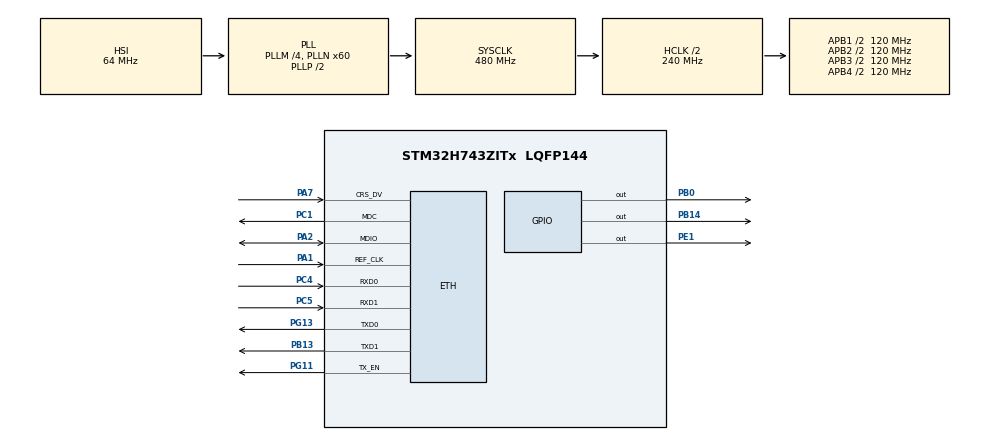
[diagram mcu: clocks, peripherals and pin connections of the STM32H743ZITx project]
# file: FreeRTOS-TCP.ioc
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CORTEX_M7.CPU_ICache=Enabled
ETH.MediaInterface=HAL_ETH_RMII_MODE
FREERTOS.Tasks01=defaultTask,24,256,StartDefaultTask,Default,NULL,Dynamic,NULL,NULL
FREERTOS.configUSE_NEWLIB_REENTRANT=1
Mcu.Family=STM32H7
Mcu.Name=STM32H743ZITx
Mcu.Package=LQFP144
NVIC.ETH_IRQn=true\:5\:0\:false\:false\:true\:true\:true\:true
NVIC.HASH_RNG_IRQn=true\:5\:0\:false\:false\:true\:true\:true\:true
NVIC.PriorityGroup=NVIC_PRIORITYGROUP_4
NVIC.RCC_IRQn=true\:5\:0\:false\:false\:true\:true\:true\:false
NVIC.TIM1_UP_IRQn=true\:15\:0\:false\:false\:true\:false\:false\:true
NVIC.TimeBase=TIM1_UP_IRQn
NVIC.TimeBaseIP=TIM1
PA1.Mode=RMII
PA1.Signal=ETH_REF_CLK
PA2.Mode=RMII
PA2.Signal=ETH_MDIO
PA7.Mode=RMII
PA7.Signal=ETH_CRS_DV
PB0.Signal=GPIO_Output
PB13.Mode=RMII
PB13.Signal=ETH_TXD1
PB14.Signal=GPIO_Output
PC1.Mode=RMII
PC1.Signal=ETH_MDC
PC4.Mode=RMII
PC4.Signal=ETH_RXD0
PC5.Mode=RMII
PC5.Signal=ETH_RXD1
PE1.Signal=GPIO_Output
PG11.Mode=RMII
PG11.Signal=ETH_TX_EN
PG13.Mode=RMII
PG13.Signal=ETH_TXD0
ProjectManager.HeapSize=0x200
ProjectManager.StackSize=0x400
ProjectManager.TargetToolchain=STM32CubeIDE
RCC.ADCFreq_Value=129000000
RCC.APB1Freq_Value=120000000
RCC.APB2Freq_Value=120000000
RCC.APB3Freq_Value=120000000
RCC.APB4Freq_Value=120000000
RCC.CortexFreq_Value=480000000
RCC.D1PPRE=RCC_APB3_DIV2
RCC.D2PPRE1=RCC_APB1_DIV2
RCC.D2PPRE2=RCC_APB2_DIV2
RCC.D3PPRE=RCC_APB4_DIV2
RCC.DIVM1=4
RCC.DIVN1=60
RCC.HCLKFreq_Value=240000000
RCC.HPRE=RCC_HCLK_DIV2
RCC.SYSCLKFreq_VALUE=480000000
RCC.SYSCLKSource=RCC_SYSCLKSOURCE_PLLCLK
RCC.USBFreq_Value=480000000
VP_FREERTOS_VS_CMSIS_V2.Mode=CMSIS_V2
VP_RNG_VS_RNG.Mode=RNG_Activate
VP_SYS_VS_tim1.Mode=TIM1
board=NUCLEO-H743ZI2

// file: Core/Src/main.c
/* USER CODE BEGIN Header */
/**
  ******************************************************************************
  * @file           : main.c
  * @brief          : Main program body
  ******************************************************************************
  * @attention
  *
  * <h2><center>&copy; Copyright (c) 2021 STMicroelectronics.
  * All rights reserved.</center></h2>
  *
  * This software component is licensed by ST under Ultimate Liberty license
  * SLA0044, the "License"; You may not use this file except in compliance with
  * the License. You may obtain a copy of the License at:
  *                             www.st.com/SLA0044
  *
  ******************************************************************************
  */
/* USER CODE END Header */
#include "main.h"
#include "string.h"
#include "cmsis_os.h"

/* USER CODE BEGIN Includes */
#include "FreeRTOS_IP.h"
#include "FreeRTOS_Sockets.h"
#include <stdlib.h>
#include <stdio.h>
/* USER CODE END Includes */

/* USER CODE BEGIN PD */
static uint8_t ucMACAddress[ 6 ] = { 0x00, 0x11, 0x22, 0x33, 0x44, 0x55 };
static const uint8_t ucIPAddress[ 4 ] = { 192, 168, 4, 7 };
static const uint8_t ucNetMask[ 4 ] = { 255, 255, 0 , 0 };
static const uint8_t ucGatewayAddress[ 4 ] = { 192, 168, 1, 1 };
static const uint8_t ucDNSServerAddress[ 4 ] = { 192, 168, 1, 2 };
/* USER CODE END PD */

#if defined ( __ICCARM__ ) /*!< IAR Compiler */

#pragma location=0x30040000
ETH_DMADescTypeDef  DMARxDscrTab[ETH_RX_DESC_CNT]; /* Ethernet Rx DMA Descriptors */
#pragma location=0x30040060
ETH_DMADescTypeDef  DMATxDscrTab[ETH_TX_DESC_CNT]; /* Ethernet Tx DMA Descriptors */
#pragma location=0x30040200
uint8_t Rx_Buff[ETH_RX_DESC_CNT][ETH_MAX_PACKET_SIZE]; /* Ethernet Receive Buffers */

#elif defined ( __CC_ARM )  /* MDK ARM Compiler */

__attribute__((at(0x30040000))) ETH_DMADescTypeDef  DMARxDscrTab[ETH_RX_DESC_CNT]; /* Ethernet Rx DMA Descriptors */
__attribute__((at(0x30040060))) ETH_DMADescTypeDef  DMATxDscrTab[ETH_TX_DESC_CNT]; /* Ethernet Tx DMA Descriptors */
__attribute__((at(0x30040200))) uint8_t Rx_Buff[ETH_RX_DESC_CNT][ETH_MAX_PACKET_SIZE]; /* Ethernet Receive Buffer */

#elif defined ( __GNUC__ ) /* GNU Compiler */

//ETH_DMADescTypeDef DMARxDscrTab[ETH_RX_DESC_CNT] __attribute__((section(".RxDecripSection"))); /* Ethernet Rx DMA Descriptors */
//ETH_DMADescTypeDef DMATxDscrTab[ETH_TX_DESC_CNT] __attribute__((section(".TxDecripSection")));   /* Ethernet Tx DMA Descriptors */
//uint8_t Rx_Buff[ETH_RX_DESC_CNT][ETH_MAX_PACKET_SIZE] __attribute__((section(".RxArraySection"))); /* Ethernet Receive Buffers */

#endif

ETH_TxPacketConfig TxConfig;

ETH_HandleTypeDef heth;

RNG_HandleTypeDef hrng;

/* Definitions for defaultTask */
osThreadId_t defaultTaskHandle;
const osThreadAttr_t defaultTask_attributes = {
  .name = "defaultTask",
  .stack_size = 256 * 4,
  .priority = (osPriority_t) osPriorityNormal,
};

void SystemClock_Config(void);
static void MX_GPIO_Init(void);
//static void MX_ETH_Init(void);
static void MX_RNG_Init(void);
void StartDefaultTask(void *argument);
static void MPU_Config(void);

int main(void)
{
  /* USER CODE BEGIN 1 */
     MPU_Config();
  /* USER CODE END 1 */

  /* Enable I-Cache---------------------------------------------------------*/
  SCB_EnableICache();
//  SCB_EnableDCache();
  /* MCU Configuration--------------------------------------------------------*/

  /* Reset of all peripherals, Initializes the Flash interface and the Systick. */
  HAL_Init();

  /* Configure the system clock */
  SystemClock_Config();

  /* Initialize all configured peripherals */
  MX_GPIO_Init();
//  MX_ETH_Init();
  MX_RNG_Init();

  /* Init scheduler */
  osKernelInitialize();

  /* Create the thread(s) */
  /* creation of defaultTask */
  defaultTaskHandle = osThreadNew(StartDefaultTask, NULL, &defaultTask_attributes);

  /* Start scheduler */
  osKernelStart();

  /* We should never get here as control is now taken by the scheduler */
  /* Infinite loop */
  while (1)
  {

  }
}

void SystemClock_Config(void)
{
  RCC_OscInitTypeDef RCC_OscInitStruct = {0};
  RCC_ClkInitTypeDef RCC_ClkInitStruct = {0};

  /** Supply configuration update enable
  */
  HAL_PWREx_ConfigSupply(PWR_LDO_SUPPLY);
  /** Configure the main internal regulator output voltage
  */
  __HAL_PWR_VOLTAGESCALING_CONFIG(PWR_REGULATOR_VOLTAGE_SCALE0);

  while(!__HAL_PWR_GET_FLAG(PWR_FLAG_VOSRDY)) {}
  /** Initializes the RCC Oscillators according to the specified parameters
  * in the RCC_OscInitTypeDef structure.
  */
  RCC_OscInitStruct.OscillatorType = RCC_OSCILLATORTYPE_HSI48|RCC_OSCILLATORTYPE_HSI;
  RCC_OscInitStruct.HSIState = RCC_HSI_DIV1;
  RCC_OscInitStruct.HSICalibrationValue = RCC_HSICALIBRATION_DEFAULT;
  RCC_OscInitStruct.HSI48State = RCC_HSI48_ON;
  RCC_OscInitStruct.PLL.PLLState = RCC_PLL_ON;
  RCC_OscInitStruct.PLL.PLLSource = RCC_PLLSOURCE_HSI;
  RCC_OscInitStruct.PLL.PLLM = 4;
  RCC_OscInitStruct.PLL.PLLN = 60;
  RCC_OscInitStruct.PLL.PLLP = 2;
  RCC_OscInitStruct.PLL.PLLQ = 2;
  RCC_OscInitStruct.PLL.PLLR = 2;
  RCC_OscInitStruct.PLL.PLLRGE = RCC_PLL1VCIRANGE_3;
  RCC_OscInitStruct.PLL.PLLVCOSEL = RCC_PLL1VCOWIDE;
  RCC_OscInitStruct.PLL.PLLFRACN = 0;
  if (HAL_RCC_OscConfig(&RCC_OscInitStruct) != HAL_OK)
  {
    Error_Handler();
  }
  /** Initializes the CPU, AHB and APB buses clocks
  */
  RCC_ClkInitStruct.ClockType = RCC_CLOCKTYPE_HCLK|RCC_CLOCKTYPE_SYSCLK
                              |RCC_CLOCKTYPE_PCLK1|RCC_CLOCKTYPE_PCLK2
                              |RCC_CLOCKTYPE_D3PCLK1|RCC_CLOCKTYPE_D1PCLK1;
  RCC_ClkInitStruct.SYSCLKSource = RCC_SYSCLKSOURCE_PLLCLK;
  RCC_ClkInitStruct.SYSCLKDivider = RCC_SYSCLK_DIV1;
  RCC_ClkInitStruct.AHBCLKDivider = RCC_HCLK_DIV2;
  RCC_ClkInitStruct.APB3CLKDivider = RCC_APB3_DIV2;
  RCC_ClkInitStruct.APB1CLKDivider = RCC_APB1_DIV2;
  RCC_ClkInitStruct.APB2CLKDivider = RCC_APB2_DIV2;
  RCC_ClkInitStruct.APB4CLKDivider = RCC_APB4_DIV2;

  if (HAL_RCC_ClockConfig(&RCC_ClkInitStruct, FLASH_LATENCY_4) != HAL_OK)
  {
    Error_Handler();
  }
}

//static void MX_ETH_Init(void)
//{
//
//  /* USER CODE BEGIN ETH_Init 0 */
//
//  /* USER CODE END ETH_Init 0 */
//
//   static uint8_t MACAddr[6];
//
//  /* USER CODE BEGIN ETH_Init 1 */
//
//  /* USER CODE END ETH_Init 1 */
//  heth.Instance = ETH;
//  MACAddr[0] = 0x00;
//  MACAddr[1] = 0x80;
//  MACAddr[2] = 0xE1;
//  MACAddr[3] = 0x00;
//  MACAddr[4] = 0x00;
//  MACAddr[5] = 0x00;
//  heth.Init.MACAddr = &MACAddr[0];
//  heth.Init.MediaInterface = HAL_ETH_RMII_MODE;
//  heth.Init.TxDesc = DMATxDscrTab;
//  heth.Init.RxDesc = DMARxDscrTab;
//  heth.Init.RxBuffLen = 1524;
//
//  /* USER CODE BEGIN MACADDRESS */
//
//  /* USER CODE END MACADDRESS */
//
//  if (HAL_ETH_Init(&heth) != HAL_OK)
//  {
//    Error_Handler();
//  }
//
//  memset(&TxConfig, 0 , sizeof(ETH_TxPacketConfig));
//  TxConfig.Attributes = ETH_TX_PACKETS_FEATURES_CSUM | ETH_TX_PACKETS_FEATURES_CRCPAD;
//  TxConfig.ChecksumCtrl = ETH_CHECKSUM_IPHDR_PAYLOAD_INSERT_PHDR_CALC;
//  TxConfig.CRCPadCtrl = ETH_CRC_PAD_INSERT;
//  /* USER CODE BEGIN ETH_Init 2 */
//
//  /* USER CODE END ETH_Init 2 */
//
//}

static void MX_RNG_Init(void)
{

  hrng.Instance = RNG;
  hrng.Init.ClockErrorDetection = RNG_CED_ENABLE;
  if (HAL_RNG_Init(&hrng) != HAL_OK)
  {
    Error_Handler();
  }

}

static void MX_GPIO_Init(void)
{
  GPIO_InitTypeDef GPIO_InitStruct = {0};

  /* GPIO Ports Clock Enable */
  __HAL_RCC_GPIOC_CLK_ENABLE();
  __HAL_RCC_GPIOA_CLK_ENABLE();
  __HAL_RCC_GPIOB_CLK_ENABLE();
  __HAL_RCC_GPIOG_CLK_ENABLE();
  __HAL_RCC_GPIOE_CLK_ENABLE();

  /*Configure GPIO pin Output Level */
  HAL_GPIO_WritePin(GPIOB, GPIO_PIN_0|GPIO_PIN_14, GPIO_PIN_RESET);

  /*Configure GPIO pin Output Level */
  HAL_GPIO_WritePin(GPIOE, GPIO_PIN_1, GPIO_PIN_RESET);

  /*Configure GPIO pins : PB0 PB14 */
  GPIO_InitStruct.Pin = GPIO_PIN_0|GPIO_PIN_14;
  GPIO_InitStruct.Mode = GPIO_MODE_OUTPUT_PP;
  GPIO_InitStruct.Pull = GPIO_NOPULL;
  GPIO_InitStruct.Speed = GPIO_SPEED_FREQ_LOW;
  HAL_GPIO_Init(GPIOB, &GPIO_InitStruct);

  /*Configure GPIO pin : PE1 */
  GPIO_InitStruct.Pin = GPIO_PIN_1;
  GPIO_InitStruct.Mode = GPIO_MODE_OUTPUT_PP;
  GPIO_InitStruct.Pull = GPIO_NOPULL;
  GPIO_InitStruct.Speed = GPIO_SPEED_FREQ_LOW;
  HAL_GPIO_Init(GPIOE, &GPIO_InitStruct);

}

/* USER CODE BEGIN 4 */
const char *pcApplicationHostnameHook(void)
{
	return "MY_HOST_NAME";
}

uint32_t ulApplicationGetNextSequenceNumber(uint32_t ulSourceAddress, uint16_t usSourcePort, uint32_t ulDestinationAddress, uint16_t usDestinationPort)
{
	//todo this is not correct is just to get the thing to compile
//	static uint32_t counter = 0;
//	return counter++;
	 return (uint32_t)rand();
}

void vApplicationIPNetworkEventHook( eIPCallbackEvent_t eNetworkEvent )
{
	static BaseType_t xTasksAlreadyCreated = pdFALSE;

	/* Both eNetworkUp and eNetworkDown events can be processed here. */
	if( eNetworkEvent == eNetworkUp )
	{
		/* Create the tasks that use the TCP/IP stack if they have not already
        been created. */
		if( xTasksAlreadyCreated == pdFALSE )
		{
			/*
			 * For convenience, tasks that use FreeRTOS+TCP can be created here
			 * to ensure they are not created before the network is usable.
			 */

			xTasksAlreadyCreated = pdTRUE;
		}
	}
}

BaseType_t xApplicationGetRandomNumber(uint32_t *pulNumber)
{
	*pulNumber = rand();
	return pdTRUE;
}

/* USER CODE END 4 */

void StartDefaultTask(void *argument)
{

	//sending TCP packet /////////////////////////////////////////////////////////////////////////////////////////////////////////////////////////////////////////////////////
	//
	//	Socket_t xClientSocket;
	//	struct freertos_sockaddr xRemoteAddress;
	//	char *BufferToTransmit = "HELLO";
	//	const size_t xTotalLength = strlen(BufferToTransmit);
	//	BaseType_t xAlreadyTransmitted = 0, xBytesSent = 0;
	//	size_t xLenToSend;
	//
	//	FreeRTOS_IPInit(ucIPAddress, ucNetMask, ucGatewayAddress, ucDNSServerAddress, ucMACAddress);
	//
	//	xRemoteAddress.sin_port = FreeRTOS_htons(10000);
	//	xRemoteAddress.sin_addr = FreeRTOS_inet_addr("192.168.4.207");
	//
	//	xClientSocket = FreeRTOS_socket(FREERTOS_AF_INET, FREERTOS_SOCK_STREAM, FREERTOS_IPPROTO_TCP);
	//
	//	configASSERT(xClientSocket != FREERTOS_INVALID_SOCKET);
	//
	//	/* Infinite loop */
	//	if (FreeRTOS_connect(xClientSocket, &xRemoteAddress, sizeof(xRemoteAddress)) == 0)
	//	{
	//		HAL_GPIO_WritePin(GPIOB, GPIO_PIN_0, GPIO_PIN_SET);
	//
	//		while (1)
	//		{
	//			xAlreadyTransmitted = 0;
	//			xBytesSent = 0;
	//
	//			while (xAlreadyTransmitted < xTotalLength)
	//			{
	//				xLenToSend = xTotalLength - xAlreadyTransmitted;
	//				xBytesSent = FreeRTOS_send(xClientSocket, &BufferToTransmit[xAlreadyTransmitted], xLenToSend, 0);
	//
	//				if (xBytesSent >= 0)
	//				{
	//					xAlreadyTransmitted += xBytesSent;
	//				}
	//
	//				else
	//				{
	//					break;
	//				}
	//			}
	//
	//			osDelay(1000);
	//		}
	//	}
	//	else
	//	{
	//		HAL_GPIO_WritePin(GPIOB, GPIO_PIN_14, GPIO_PIN_SET);
	//	}
	//
	////FreeRTOS_shutdown(xClientSocket, FREERTOS_SHUT_RDWR);
	////FreeRTOS_closesocket(xClientSocket);

	// TCP echo server/////////////////////////////////////////////////////////////////////////////////////////////////////////////////////////

		struct freertos_sockaddr xClient, xBindAddress;
		Socket_t xListeningSocket, xConnectedSocket;
		socklen_t xSize = sizeof(xClient);
		static const TickType_t xReceiveTimeOut = portMAX_DELAY;
		const BaseType_t xBacklog = 20;
		uint8_t Buffer[128];
		BaseType_t xAlreadyTransmitted = 0, xBytesSent = 0;
		size_t xLenToSend;

		FreeRTOS_IPInit(ucIPAddress, ucNetMask, ucGatewayAddress, ucDNSServerAddress, ucMACAddress);

		xListeningSocket = FreeRTOS_socket(FREERTOS_AF_INET, FREERTOS_SOCK_STREAM, FREERTOS_IPPROTO_TCP);
		configASSERT(xListeningSocket != FREERTOS_INVALID_SOCKET); /* Check the socket was created. */

		FreeRTOS_setsockopt(xListeningSocket, 0, FREERTOS_SO_RCVTIMEO, &xReceiveTimeOut, sizeof(xReceiveTimeOut));

		xBindAddress.sin_port = FreeRTOS_htons((uint16_t )10000);

		FreeRTOS_bind(xListeningSocket, &xBindAddress, sizeof(struct freertos_sockaddr));
		FreeRTOS_listen(xListeningSocket, xBacklog);

	for (;;)
	{
		/* Wait for incoming connections. */
		xConnectedSocket = FreeRTOS_accept(xListeningSocket, &xClient, &xSize);
		configASSERT(xConnectedSocket != FREERTOS_INVALID_SOCKET);
		HAL_GPIO_WritePin(GPIOB, GPIO_PIN_0, GPIO_PIN_SET);

		size_t xTotalLength = FreeRTOS_recv(xConnectedSocket, Buffer, 128, 0);
		// HAL_GPIO_TogglePin(GPIOB, GPIO_PIN_0);

		//	const size_t xTotalLength = strlen(Buffer);

		xAlreadyTransmitted = 0;
		xBytesSent = 0;

		//		HAL_GPIO_TogglePin(GPIOB, GPIO_PIN_0);

		while (xAlreadyTransmitted < xTotalLength)
		{
			xLenToSend = xTotalLength - xAlreadyTransmitted;
			//				xBytesSent = FreeRTOS_send(xConnectedSocket,Buffer,
			//						xLenToSend, 0);
			xBytesSent = FreeRTOS_send(xConnectedSocket, &Buffer[xAlreadyTransmitted],
					xLenToSend, 0);

			//			HAL_GPIO_TogglePin(GPIOB, GPIO_PIN_0);

			if (xBytesSent >= 0)
			{
				xAlreadyTransmitted += xBytesSent;
			}

			else
			{
				break;
			}
		}

		FreeRTOS_shutdown(xConnectedSocket, FREERTOS_SHUT_RDWR);
		while (FreeRTOS_recv(xConnectedSocket, Buffer, 128, 0) >= 0)
		{
			osDelay(10);
		}
		FreeRTOS_closesocket(xConnectedSocket);
	}
}

void MPU_Config(void)
{
  MPU_Region_InitTypeDef MPU_InitStruct = {0};

  /* Disables the MPU */
  HAL_MPU_Disable();
  /** Initializes and configures the Region and the memory to be protected
  */
  MPU_InitStruct.Enable = MPU_REGION_ENABLE;
  MPU_InitStruct.Number = MPU_REGION_NUMBER0;
  MPU_InitStruct.BaseAddress = 0x30040000;
  MPU_InitStruct.Size = MPU_REGION_SIZE_256B;
  MPU_InitStruct.SubRegionDisable = 0x0;
  MPU_InitStruct.TypeExtField = MPU_TEX_LEVEL0;
  MPU_InitStruct.AccessPermission = MPU_REGION_FULL_ACCESS;
  MPU_InitStruct.DisableExec = MPU_INSTRUCTION_ACCESS_ENABLE;
  MPU_InitStruct.IsShareable = MPU_ACCESS_NOT_SHAREABLE;
  MPU_InitStruct.IsCacheable = MPU_ACCESS_NOT_CACHEABLE;
  MPU_InitStruct.IsBufferable = MPU_ACCESS_BUFFERABLE;

  HAL_MPU_ConfigRegion(&MPU_InitStruct);
  /** Initializes and configures the Region and the memory to be protected
  */
  MPU_InitStruct.Number = MPU_REGION_NUMBER1;
  MPU_InitStruct.BaseAddress = 0x30044000;
  MPU_InitStruct.Size = MPU_REGION_SIZE_16KB;
  MPU_InitStruct.TypeExtField = MPU_TEX_LEVEL1;
  MPU_InitStruct.IsShareable = MPU_ACCESS_SHAREABLE;
  MPU_InitStruct.IsBufferable = MPU_ACCESS_NOT_BUFFERABLE;

  HAL_MPU_ConfigRegion(&MPU_InitStruct);
  /* Enables the MPU */
  HAL_MPU_Enable(MPU_PRIVILEGED_DEFAULT);

}

void HAL_TIM_PeriodElapsedCallback(TIM_HandleTypeDef *htim)
{

  if (htim->Instance == TIM1) {
    HAL_IncTick();
  }
}

void Error_Handler(void)
{
  __disable_irq();
  while (1)
  {
  }
}

/************************ (C) COPYRIGHT STMicroelectronics *****END OF FILE****/
